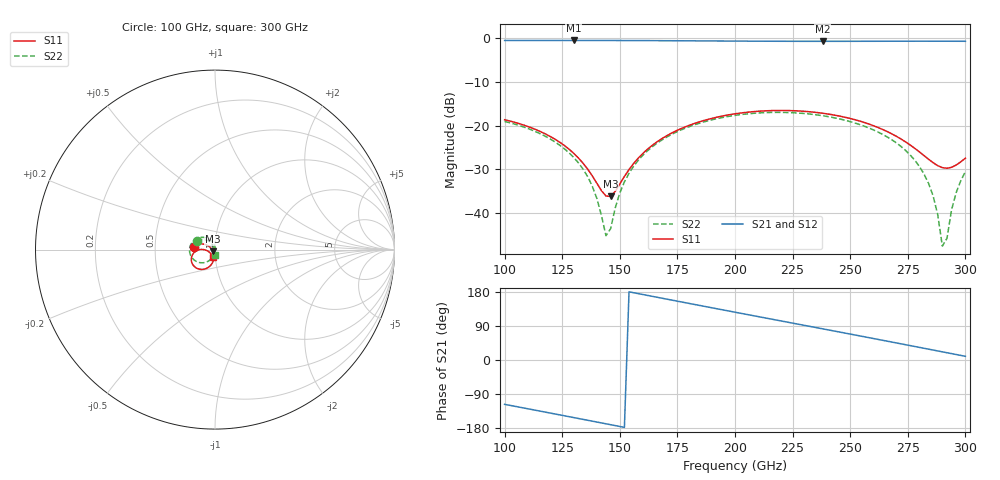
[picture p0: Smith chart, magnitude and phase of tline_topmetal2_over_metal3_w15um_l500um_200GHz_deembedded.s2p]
! Created with skrf 2.0.1 (http://scikit-rf.org).
# GHz S DB R 50.0
!freq dBS11 angS11 dBS21 angS21 dBS12 angS12 dBS22 angS22
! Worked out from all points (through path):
!   101 points, 100 GHz to 300 GHz, reference 50 ohm
!   highest |S21| = -0.45 dB at 130 GHz (marker M1); lowest = -0.6 dB at 238 GHz (marker M2)
!   group delay of S21, straight-line fit = 3.23 ps
!   lowest |S11| = -36.2 dB at 146 GHz (marker M3), VSWR 1.03, Z = 48.8 - j0.879 ohm
!   |S11| at or under -10 dB: start of sweep to end of sweep
!   |S22| runs from -47.7 to -17.0 dB; largest |S21 - S12| = 1.1e-14
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100  -18.65 172.7  -0.46 -117.0  -0.46 -117.0  -19.04 154.7
118  -21.98 156.8  -0.45 -137.9  -0.45 -137.9  -22.53 133.5
130  -26.35 151.3  -0.45 -151.9  -0.45 -151.9  -27.31 121.3
134  -28.59 152.7  -0.45 -156.6  -0.45 -156.6  -29.94 118.7
140  -33.18 166.0  -0.46 -163.7  -0.46 -163.7  -36.63 122.3
144  -36.15 -165.1  -0.46 -168.4  -0.46 -168.4  -45.26 166.8
146  -36.24 -144.2  -0.46 -170.7  -0.46 -170.7  -43.65 -136.8
150  -33.39 -113.7  -0.47 -175.4  -0.47 -175.4  -35.45 -108.3
154  -30.08 -101.8  -0.47 179.9  -0.47 179.9  -30.92 -106.0
168  -23.07 -100.1  -0.50 163.4  -0.50 163.4  -23.38 -117.5
200  -17.29 -126.5  -0.60 126.2  -0.60 126.2  -17.65 -154.9
234  -16.90 -157.6  -0.65 86.9  -0.65 86.9  -17.43 163.6
238  -17.15 -161.0  -0.65 82.3  -0.65 82.3  -17.72 158.7
268  -21.87 179.6  -0.63 47.4  -0.63 47.4  -23.22 120.3
278  -25.20 -178.1  -0.63 35.7  -0.63 35.7  -27.92 105.9
284  -27.70 -168.4  -0.63 28.6  -0.63 28.6  -33.23 94.4
288  -29.19 -155.3  -0.63 23.9  -0.63 23.9  -40.46 77.7
290  -29.64 -146.6  -0.63 21.5  -0.63 21.5  -47.66 42.9
292  -29.78 -137.1  -0.63 19.2  -0.63 19.2  -45.86 -46.8
294  -29.56 -127.6  -0.63 16.8  -0.63 16.8  -39.32 -71.8
296  -29.04 -119.1  -0.64 14.5  -0.64 14.5  -35.37 -80.9
300  -27.47 -106.5  -0.64 9.7  -0.64 9.7  -30.56 -90.8
